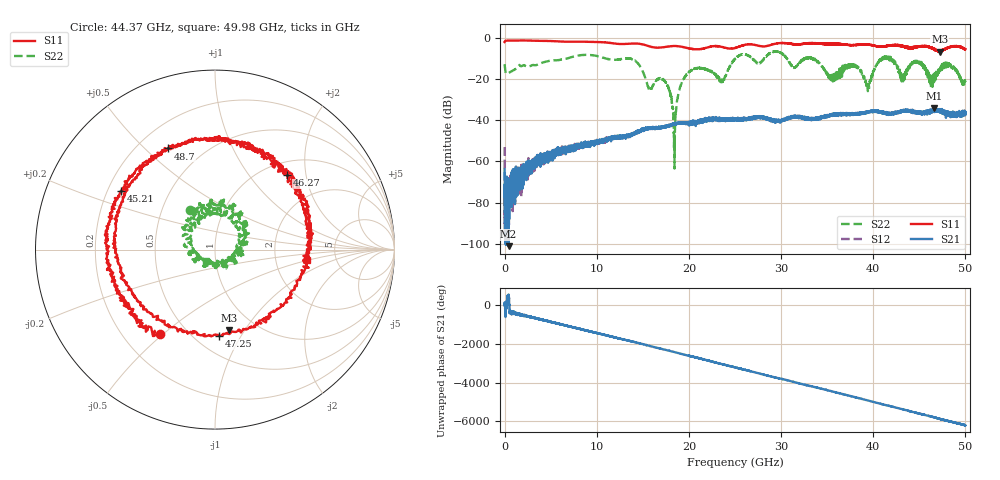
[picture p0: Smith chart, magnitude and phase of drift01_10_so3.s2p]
!Created with skrf (http://scikit-rf.org).
# Hz S RI R 50.0
!freq ReS11 ImS11 ReS21 ImS21 ReS12 ImS12 ReS22 ImS22
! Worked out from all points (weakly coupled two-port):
!   10001 points, 300 kHz to 50 GHz, reference 50 ohm
!   highest |S21| = -34.20 dB at 46.64 GHz (marker M1); lowest = -101.2 dB at 430.3 MHz (marker M2)
!   lowest |S11| = -6.8 dB at 47.21 GHz (marker M3), VSWR 2.68, Z = 37.7 - j42.8 ohm
!   |S11| at or under -10 dB: nowhere
!   |S22| runs from -63.5 to -6.6 dB; largest |S21 - S12| = 0.0047
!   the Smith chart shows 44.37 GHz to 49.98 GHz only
!   S11 on the Smith chart (normalised r, x): 44.37 GHz: 0.36, -0.49; 45.21 GHz: 0.25, +0.27; 46.27 GHz: 1.26, +1.57; 47.25 GHz: 0.65, -0.81; 48.7 GHz: 0.32, +0.59; 49.98 GHz: 3.03, -0.49
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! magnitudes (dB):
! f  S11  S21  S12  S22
! 300 kHz  -2.1  -63.7  -53.1  -12.9
! 430.3 MHz  -1.4  -101.2  -68.9  -17.1
! 8.335 GHz  -2.0  -52.6  -52.7  -8.5
! 16.67 GHz  -4.8  -43.7  -43.8  -19.9
! 17.74 GHz  -4.3  -43.1  -42.8  -23.6
! 18.43 GHz  -4.1  -41.8  -41.9  -57.0
! 19.91 GHz  -5.1  -41.6  -41.4  -17.1
! 23.59 GHz  -4.5  -39.6  -39.9  -20.3
! 25 GHz  -5.0  -39.4  -40.2  -10.4
! 33.34 GHz  -2.6  -39.0  -39.3  -9.9
! 39.37 GHz  -3.4  -36.3  -36.1  -23.5
! 41.67 GHz  -3.9  -36.7  -37.2  -10.0
! 43.18 GHz  -4.2  -35.5  -35.9  -18.8
! 44.37 GHz  -5.0  -36.4  -36.2  -11.7
! 45.21 GHz  -4.2  -36.8  -36.5  -12.4
! 46.27 GHz  -4.8  -35.6  -35.6  -22.9
! 46.64 GHz  -5.6  -34.2  -35.0  -18.3
! 47.21 GHz  -6.8  -34.9  -35.0  -14.5
! 47.25 GHz  -6.4  -35.4  -35.6  -15.9
! 48.7 GHz  -4.1  -37.4  -36.6  -14.3
! 49.98 GHz  -5.8  -36.6  -36.0  -21.6
! 50 GHz  -5.6  -36.9  -37.0  -21.5
